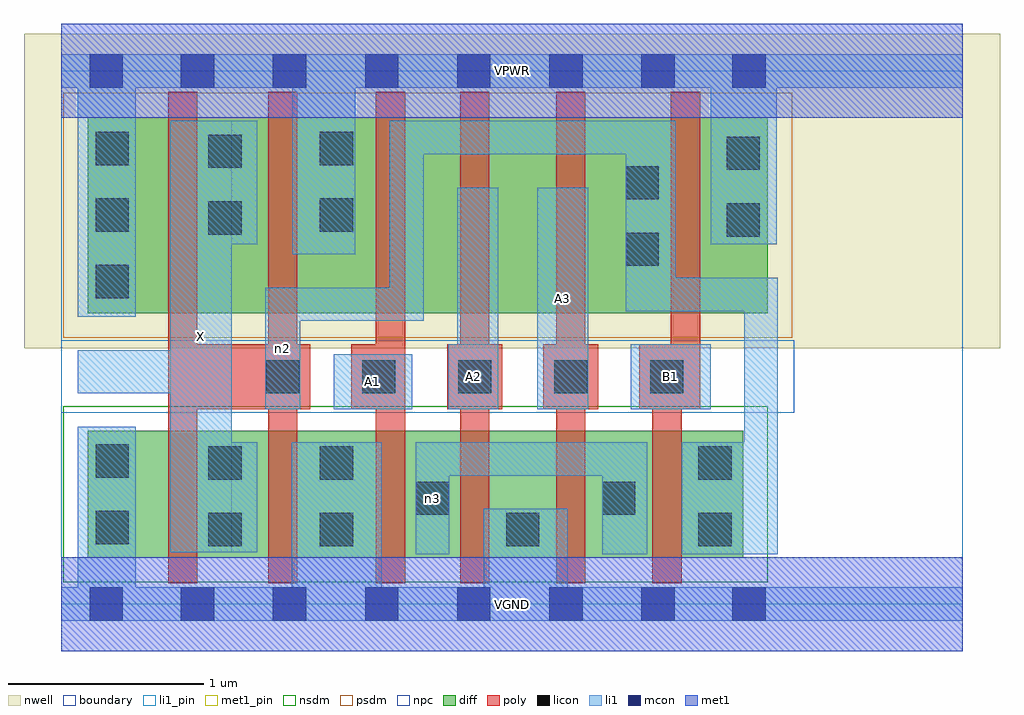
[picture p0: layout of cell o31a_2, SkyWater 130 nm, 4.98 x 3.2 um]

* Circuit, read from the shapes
.subckt o31a_2 A1 A2 A3 B1 VGND VPWR X n2 n3
XM1 X n2 VGND VSUBS sky130_fd_pr__nfet_01v8 w=0.65 l=0.15 m=2
XM2 n3 A1 VGND VSUBS sky130_fd_pr__nfet_01v8 w=0.65 l=0.15
XM3 VGND A2 n3 VSUBS sky130_fd_pr__nfet_01v8 w=0.65 l=0.15
XM4 n3 A3 VGND VSUBS sky130_fd_pr__nfet_01v8 w=0.65 l=0.15
XM5 n2 B1 n3 VSUBS sky130_fd_pr__nfet_01v8 w=0.65 l=0.15
XM6 X n2 VPWR n1 sky130_fd_pr__pfet_01v8 w=1 l=0.15 m=2
XM7 n4 A1 VPWR n1 sky130_fd_pr__pfet_01v8 w=1 l=0.15
XM8 n5 A2 n4 n1 sky130_fd_pr__pfet_01v8 w=1 l=0.15
XM9 n2 A3 n5 n1 sky130_fd_pr__pfet_01v8 w=1 l=0.15
XM10 VPWR B1 n2 n1 sky130_fd_pr__pfet_01v8 w=1 l=0.15
.ends

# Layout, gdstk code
import gdstk
lib = gdstk.Library(unit=1e-6, precision=1e-09)
def R(c, l, rs):  # rectangles x0, y0, x1, y1
    for r in rs: c.add(gdstk.rectangle(r[:2], r[2:], *l))
def A(c, l, x, y, w, h, nx, ny, dx, dy):  # array of equal rectangles
    R(c, l, [(x+i*dx, y+j*dy, x+i*dx+w, y+j*dy+h) for i in range(nx) for j in range(ny)])
nwell = (64, 20)
diff = (65, 20)
poly = (66, 20)
licon = (66, 44)
li1_pin = (67, 16)
li1 = (67, 20)
mcon = (67, 44)
met1_pin = (68, 16)
met1 = (68, 20)
nsdm = (93, 44)
psdm = (94, 20)
npc = (95, 20)
boundary = (235, 4)

o31a_2 = lib.new_cell('o31a_2')
R(o31a_2, nwell, [(-0.19,1.305,4.79,2.91), (0,1.305,4.6,2.91)])
R(o31a_2, diff, [(0.135,0.235,3.48,0.885), (0.135,1.485,3.605,2.485)])
R(o31a_2, poly, [(0.545,0.105,0.695,2.615), (1.055,0.105,1.205,2.615), (1.605,0.105,1.755,2.615), (2.035,0.105,2.185,2.615), (2.525,0.105,2.675,2.615), (3.015,0.105,3.165,1.325), (0.545,0.995,1.27,1.325), (1.48,0.995,1.755,1.325), (1.97,0.995,2.25,1.325), (2.46,0.995,2.74,1.325), (2.95,0.995,3.26,1.325), (3.11,0.995,3.26,2.615)])
A(o31a_2, licon, 1.045, 1.075, 0.17, 0.17, 5, 1, 0.49, 0)
A(o31a_2, licon, 0.175, 1.56, 0.17, 0.17, 1, 3, 0, 0.34)
R(o31a_2, licon, [(0.75,0.295,0.92,0.465), (1.32,0.295,1.49,0.465), (2.27,0.295,2.44,0.465), (3.25,0.295,3.42,0.465), (0.175,0.305,0.345,0.475), (1.81,0.455,1.98,0.625), (2.76,0.455,2.93,0.625), (0.75,0.635,0.92,0.805), (1.32,0.635,1.49,0.805), (3.25,0.635,3.42,0.805), (0.175,0.645,0.345,0.815), (2.88,1.725,3.05,1.895), (3.395,1.875,3.565,2.045), (0.75,1.885,0.92,2.055), (1.32,1.9,1.49,2.07), (2.88,2.065,3.05,2.235), (3.395,2.215,3.565,2.385), (0.75,2.225,0.92,2.395), (1.32,2.24,1.49,2.41)])
R(o31a_2, li1_pin, [(0.555,0.265,0.87,2.465), (1.39,0.995,1.79,1.275), (1.975,0.995,2.23,1.325), (2.43,0.995,2.69,2.125), (2.905,0.995,3.315,1.325)])
R(o31a_2, li1, [(0,-0.085,4.6,0.085), (0.085,-0.085,0.38,0.905), (1.175,-0.085,1.635,0.825), (2.155,-0.085,2.585,0.485), (1.81,0.255,1.98,0.825), (2.76,0.255,2.99,0.825), (3.165,0.255,3.655,0.825), (3.485,0.255,3.655,1.665), (0.555,0.265,0.87,2.465), (0.555,0.265,1,0.825), (1.81,0.655,2.99,0.825), (1.04,0.995,1.22,1.615), (1.39,0.995,1.79,1.275), (1.975,0.995,2.23,1.325), (2.02,0.995,2.23,2.125), (2.43,0.995,2.69,2.125), (2.905,0.995,3.315,1.325), (0.085,1.075,0.87,1.295), (1.04,1.445,1.85,1.615), (1.675,1.445,1.85,2.465), (0.085,1.465,0.38,2.805), (2.88,1.495,3.135,2.465), (2.88,1.495,3.655,1.665), (1.18,1.785,1.5,2.805), (0.555,1.835,1,2.465), (3.315,1.835,3.65,2.805), (1.675,2.295,3.135,2.465), (0,2.635,4.6,2.805)])
A(o31a_2, mcon, 0.61, -0.085, 0.17, 0.17, 6, 2, 0.47, 2.72)
R(o31a_2, mcon, [(0.145,-0.085,0.315,0.085), (3.425,-0.085,3.595,0.085), (0.145,2.635,0.315,2.805), (3.425,2.635,3.595,2.805)])
R(o31a_2, met1_pin, [(0,-0.24,4.6,0.24), (0,2.48,4.6,2.96)])
R(o31a_2, met1, [(0,-0.24,4.6,0.24), (0,2.48,4.6,2.96)])
R(o31a_2, nsdm, [(0.01,0.11,3.605,1.01)])
R(o31a_2, psdm, [(0.01,1.36,3.73,2.61)])
R(o31a_2, npc, [(0,0.975,3.74,1.345)])
R(o31a_2, boundary, [(0,0,4.6,2.72)])
o31a_2.add(gdstk.Label('A1', (1.59,1.135), layer=67, texttype=5))
o31a_2.add(gdstk.Label('A2', (2.102,1.16), layer=67, texttype=5))
o31a_2.add(gdstk.Label('A3', (2.56,1.56), layer=67, texttype=5))
o31a_2.add(gdstk.Label('B1', (3.11,1.16), layer=67, texttype=5))
o31a_2.add(gdstk.Label('X', (0.712,1.365), layer=67, texttype=5))
o31a_2.add(gdstk.Label('n3', (1.895,0.54), layer=67, texttype=5))
o31a_2.add(gdstk.Label('n2', (1.13,1.305), layer=67, texttype=5))
o31a_2.add(gdstk.Label('VPWR', (2.3,2.72), layer=68, texttype=5))
o31a_2.add(gdstk.Label('VGND', (2.3,0), layer=68, texttype=5))
o31a_2.add(gdstk.Label('A1', (1.59,1.135), layer=67, texttype=16))
o31a_2.add(gdstk.Label('A2', (2.102,1.16), layer=67, texttype=16))
o31a_2.add(gdstk.Label('A3', (2.56,1.56), layer=67, texttype=16))
o31a_2.add(gdstk.Label('B1', (3.11,1.16), layer=67, texttype=16))
o31a_2.add(gdstk.Label('X', (0.712,1.365), layer=67, texttype=16))
o31a_2.add(gdstk.Label('VPWR', (2.3,2.72), layer=68, texttype=16))
o31a_2.add(gdstk.Label('VGND', (2.3,0), layer=68, texttype=16))

lib.write_gds('o31a_2.gds')
